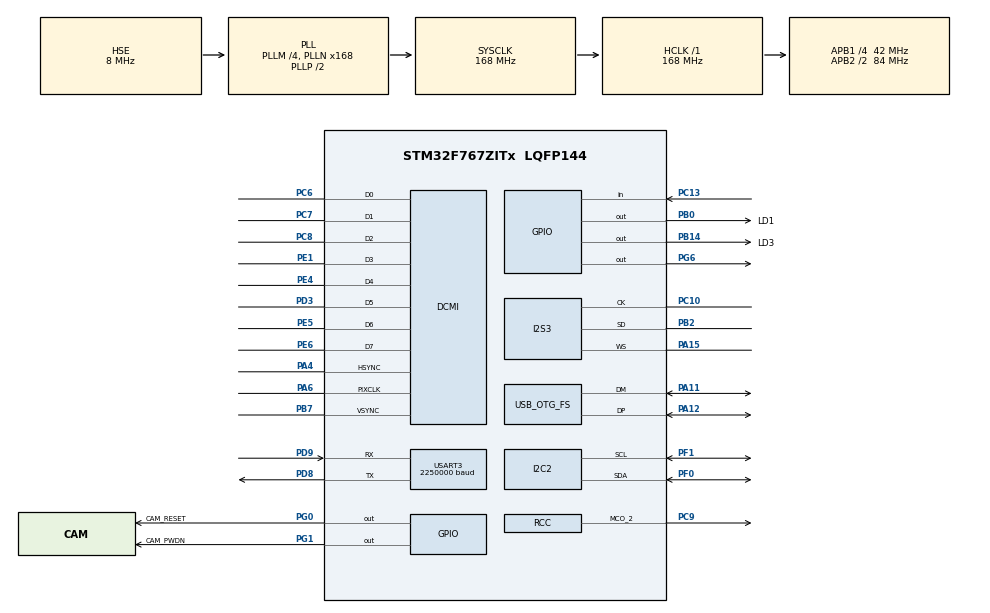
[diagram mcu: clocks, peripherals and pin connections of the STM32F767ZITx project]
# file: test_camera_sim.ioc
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CORTEX_M7.ART_ACCLERATOR_ENABLE=1
CORTEX_M7.CPU_DCache=Enabled
CORTEX_M7.CPU_ICache=Enabled
CORTEX_M7.FlashInterface=TCM_Enabled
CORTEX_M7.PREFETCH_ENABLE=1
DCMI.HSPolarity=DCMI_HSPOLARITY_LOW
DCMI.PCKPolarity=DCMI_PCKPOLARITY_RISING
DCMI.VSPolarity=DCMI_VSPOLARITY_HIGH
Dma.DCMI.0.Direction=DMA_PERIPH_TO_MEMORY
Dma.DCMI.0.FIFOMode=DMA_FIFOMODE_ENABLE
Dma.DCMI.0.FIFOThreshold=DMA_FIFO_THRESHOLD_FULL
Dma.DCMI.0.Instance=DMA2_Stream1
Dma.DCMI.0.MemBurst=DMA_MBURST_INC4
Dma.DCMI.0.MemDataAlignment=DMA_MDATAALIGN_WORD
Dma.DCMI.0.MemInc=DMA_MINC_ENABLE
Dma.DCMI.0.Mode=DMA_CIRCULAR
Dma.DCMI.0.PeriphBurst=DMA_PBURST_SINGLE
Dma.DCMI.0.PeriphDataAlignment=DMA_PDATAALIGN_WORD
Dma.DCMI.0.PeriphInc=DMA_PINC_DISABLE
Dma.DCMI.0.Priority=DMA_PRIORITY_HIGH
Dma.JPEG_IN.2.Direction=DMA_MEMORY_TO_PERIPH
Dma.JPEG_IN.2.FIFOMode=DMA_FIFOMODE_ENABLE
Dma.JPEG_IN.2.FIFOThreshold=DMA_FIFO_THRESHOLD_FULL
Dma.JPEG_IN.2.Instance=DMA2_Stream3
Dma.JPEG_IN.2.MemBurst=DMA_MBURST_INC4
Dma.JPEG_IN.2.MemDataAlignment=DMA_MDATAALIGN_WORD
Dma.JPEG_IN.2.MemInc=DMA_MINC_ENABLE
Dma.JPEG_IN.2.Mode=DMA_NORMAL
Dma.JPEG_IN.2.PeriphBurst=DMA_PBURST_INC4
Dma.JPEG_IN.2.PeriphDataAlignment=DMA_PDATAALIGN_WORD
Dma.JPEG_IN.2.PeriphInc=DMA_PINC_DISABLE
Dma.JPEG_IN.2.Priority=DMA_PRIORITY_HIGH
Dma.JPEG_OUT.3.Direction=DMA_PERIPH_TO_MEMORY
Dma.JPEG_OUT.3.FIFOMode=DMA_FIFOMODE_ENABLE
Dma.JPEG_OUT.3.FIFOThreshold=DMA_FIFO_THRESHOLD_FULL
Dma.JPEG_OUT.3.Instance=DMA2_Stream4
Dma.JPEG_OUT.3.MemBurst=DMA_MBURST_INC4
Dma.JPEG_OUT.3.MemDataAlignment=DMA_MDATAALIGN_WORD
Dma.JPEG_OUT.3.MemInc=DMA_MINC_ENABLE
Dma.JPEG_OUT.3.Mode=DMA_NORMAL
Dma.JPEG_OUT.3.PeriphBurst=DMA_PBURST_INC4
Dma.JPEG_OUT.3.PeriphDataAlignment=DMA_PDATAALIGN_WORD
Dma.JPEG_OUT.3.PeriphInc=DMA_PINC_DISABLE
Dma.JPEG_OUT.3.Priority=DMA_PRIORITY_HIGH
Dma.Request0=DCMI
Dma.Request1=USART3_TX
Dma.Request2=JPEG_IN
Dma.Request3=JPEG_OUT
Dma.USART3_TX.1.Direction=DMA_MEMORY_TO_PERIPH
Dma.USART3_TX.1.FIFOMode=DMA_FIFOMODE_ENABLE
Dma.USART3_TX.1.FIFOThreshold=DMA_FIFO_THRESHOLD_FULL
Dma.USART3_TX.1.Instance=DMA1_Stream3
Dma.USART3_TX.1.MemBurst=DMA_MBURST_INC4
Dma.USART3_TX.1.MemDataAlignment=DMA_MDATAALIGN_WORD
Dma.USART3_TX.1.MemInc=DMA_MINC_ENABLE
Dma.USART3_TX.1.Mode=DMA_NORMAL
Dma.USART3_TX.1.PeriphBurst=DMA_PBURST_SINGLE
Dma.USART3_TX.1.PeriphDataAlignment=DMA_PDATAALIGN_BYTE
Dma.USART3_TX.1.PeriphInc=DMA_PINC_DISABLE
Dma.USART3_TX.1.Priority=DMA_PRIORITY_MEDIUM
I2C2.Timing=0x00A0A3F7
I2S3.ErrorAudioFreq=0.0 %
I2S3.FullDuplexMode=I2S_FULLDUPLEXMODE_DISABLE
I2S3.Instance=SPI$Index
I2S3.RealAudioFreq=8.0 KHz
I2S3.VirtualMode=I2S_MODE_MASTER
JPEG.JPEG_RGB_FORMAT=JPEG_RGB565
JPEG.USE_JPEG_DECODER=0
Mcu.Family=STM32F7
Mcu.Name=STM32F767ZITx
Mcu.Package=LQFP144
NVIC.DCMI_IRQn=true\:6\:0\:true\:false\:true\:true\:true
NVIC.DMA1_Stream3_IRQn=true\:2\:0\:true\:false\:true\:false\:true
NVIC.DMA2_Stream1_IRQn=true\:7\:0\:true\:false\:true\:false\:true
NVIC.DMA2_Stream3_IRQn=true\:5\:0\:true\:false\:true\:false\:true
NVIC.DMA2_Stream4_IRQn=true\:5\:0\:true\:false\:true\:false\:true
NVIC.JPEG_IRQn=true\:3\:0\:true\:false\:true\:true\:true
NVIC.OTG_FS_IRQn=true\:4\:1\:true\:false\:true\:false\:true
NVIC.PriorityGroup=NVIC_PRIORITYGROUP_3
NVIC.USART3_IRQn=true\:1\:0\:true\:false\:true\:true\:true
PA1.GPIO_Mode=GPIO_MODE_AF_PP
PA1.GPIO_PuPd=GPIO_NOPULL
PA1.GPIO_Speed=GPIO_SPEED_FREQ_VERY_HIGH
PA1.Signal=ETH_REF_CLK
PA11.Mode=Host_Only
PA11.Signal=USB_OTG_FS_DM
PA12.Mode=Host_Only
PA12.Signal=USB_OTG_FS_DP
PA13.Mode=Serial_Wire
PA13.Signal=SYS_JTMS-SWDIO
PA14.Mode=Serial_Wire
PA14.Signal=SYS_JTCK-SWCLK
PA15.Mode=Half_Duplex_Master
PA15.Signal=I2S3_WS
PA2.GPIO_Mode=GPIO_MODE_AF_PP
PA2.GPIO_PuPd=GPIO_NOPULL
PA2.GPIO_Speed=GPIO_SPEED_FREQ_VERY_HIGH
PA2.Signal=ETH_MDIO
PA4.GPIO_PuPd=GPIO_PULLDOWN
PA4.Mode=Slave_8_bits_External_Synchro
PA4.Signal=DCMI_HSYNC
PA6.GPIO_PuPd=GPIO_PULLDOWN
PA6.Mode=Slave_8_bits_External_Synchro
PA6.Signal=DCMI_PIXCLK
PA7.GPIO_Mode=GPIO_MODE_AF_PP
PA7.GPIO_PuPd=GPIO_NOPULL
PA7.GPIO_Speed=GPIO_SPEED_FREQ_VERY_HIGH
PA7.Signal=ETH_CRS_DV
PB0.GPIO_Label=LD1
PB0.GPIO_ModeDefaultOutputPP=GPIO_MODE_OUTPUT_PP
PB0.GPIO_PuPd=GPIO_NOPULL
PB0.GPIO_Speed=GPIO_SPEED_FREQ_LOW
PB0.PinState=GPIO_PIN_RESET
PB0.Signal=GPIO_Output
PB13.GPIO_Mode=GPIO_MODE_AF_PP
PB13.GPIO_PuPd=GPIO_NOPULL
PB13.GPIO_Speed=GPIO_SPEED_FREQ_VERY_HIGH
PB13.Signal=ETH_TXD1
PB14.GPIO_Label=LD3
PB14.GPIO_ModeDefaultOutputPP=GPIO_MODE_OUTPUT_PP
PB14.GPIO_PuPd=GPIO_NOPULL
PB14.GPIO_Speed=GPIO_SPEED_FREQ_LOW
PB14.PinState=GPIO_PIN_RESET
PB14.Signal=GPIO_Output
PB2.Mode=Half_Duplex_Master
PB2.Signal=I2S3_SD
PB7.GPIO_PuPd=GPIO_PULLDOWN
PB7.Mode=Slave_8_bits_External_Synchro
PB7.Signal=DCMI_VSYNC
PC1.GPIO_Mode=GPIO_MODE_AF_PP
PC1.GPIO_PuPd=GPIO_NOPULL
PC1.GPIO_Speed=GPIO_SPEED_FREQ_VERY_HIGH
PC1.Signal=ETH_MDC
PC10.Mode=Half_Duplex_Master
PC10.Signal=I2S3_CK
PC13.Signal=GPIO_Input
PC14/OSC32_IN.Mode=LSE-External-Oscillator
PC14/OSC32_IN.Signal=RCC_OSC32_IN
PC15/OSC32_OUT.Mode=LSE-External-Oscillator
PC15/OSC32_OUT.Signal=RCC_OSC32_OUT
PC4.GPIO_Mode=GPIO_MODE_AF_PP
PC4.GPIO_PuPd=GPIO_NOPULL
PC4.GPIO_Speed=GPIO_SPEED_FREQ_VERY_HIGH
PC4.Signal=ETH_RXD0
PC5.GPIO_Mode=GPIO_MODE_AF_PP
PC5.GPIO_PuPd=GPIO_NOPULL
PC5.GPIO_Speed=GPIO_SPEED_FREQ_VERY_HIGH
PC5.Signal=ETH_RXD1
PC6.GPIO_PuPd=GPIO_PULLDOWN
PC6.Mode=Slave_8_bits_External_Synchro
PC6.Signal=DCMI_D0
PC7.GPIO_PuPd=GPIO_PULLDOWN
PC7.Mode=Slave_8_bits_External_Synchro
PC7.Signal=DCMI_D1
PC8.GPIO_PuPd=GPIO_PULLDOWN
PC8.Mode=Slave_8_bits_External_Synchro
PC8.Signal=DCMI_D2
PC9.GPIO_Mode=GPIO_MODE_AF_PP
PC9.GPIO_PuPd=GPIO_NOPULL
PC9.GPIO_Speed=GPIO_SPEED_FREQ_LOW
PC9.Mode=Clock-out-2
PC9.Signal=RCC_MCO_2
PD3.GPIO_PuPd=GPIO_PULLDOWN
PD3.Mode=Slave_8_bits_External_Synchro
PD3.Signal=DCMI_D5
PD8.GPIO_ModeDefaultPP=GPIO_MODE_AF_PP
PD8.GPIO_PuPd=GPIO_NOPULL
PD8.GPIO_Speed=GPIO_SPEED_FREQ_VERY_HIGH
PD8.Mode=Asynchronous
PD8.Signal=USART3_TX
PD9.GPIO_ModeDefaultPP=GPIO_MODE_AF_PP
PD9.GPIO_PuPd=GPIO_NOPULL
PD9.GPIO_Speed=GPIO_SPEED_FREQ_VERY_HIGH
PD9.Mode=Asynchronous
PD9.Signal=USART3_RX
PE1.GPIO_PuPd=GPIO_PULLDOWN
PE1.Mode=Slave_8_bits_External_Synchro
PE1.Signal=DCMI_D3
PE4.GPIO_PuPd=GPIO_PULLDOWN
PE4.Mode=Slave_8_bits_External_Synchro
PE4.Signal=DCMI_D4
PE5.GPIO_PuPd=GPIO_PULLDOWN
PE5.Mode=Slave_8_bits_External_Synchro
PE5.Signal=DCMI_D6
PE6.GPIO_PuPd=GPIO_PULLDOWN
PE6.Mode=Slave_8_bits_External_Synchro
PE6.Signal=DCMI_D7
PF0.Mode=I2C
PF0.Signal=I2C2_SDA
PF1.Mode=I2C
PF1.Signal=I2C2_SCL
PG0.GPIO_Label=CAM_RESET
PG0.Signal=GPIO_Output
PG1.GPIO_Label=CAM_PWDN
PG1.Signal=GPIO_Output
PG11.GPIO_Mode=GPIO_MODE_AF_PP
PG11.GPIO_PuPd=GPIO_NOPULL
PG11.GPIO_Speed=GPIO_SPEED_FREQ_VERY_HIGH
PG11.Signal=ETH_TX_EN
PG13.GPIO_Mode=GPIO_MODE_AF_PP
PG13.GPIO_PuPd=GPIO_NOPULL
PG13.GPIO_Speed=GPIO_SPEED_FREQ_VERY_HIGH
PG13.Signal=ETH_TXD0
PG6.Signal=GPIO_Output
PH0/OSC_IN.Mode=HSE-External-Clock-Source
PH0/OSC_IN.Signal=RCC_OSC_IN
PH1/OSC_OUT.Mode=HSE-External-Clock-Source
PH1/OSC_OUT.Signal=RCC_OSC_OUT
ProjectManager.HeapSize=0x2000
ProjectManager.StackSize=0x2000
ProjectManager.TargetToolchain=Makefile
RCC.48MHZClocksFreq_Value=24000000
RCC.AHBFreq_Value=168000000
RCC.APB1CLKDivider=RCC_HCLK_DIV4
RCC.APB1Freq_Value=42000000
RCC.APB1TimFreq_Value=84000000
RCC.APB2CLKDivider=RCC_HCLK_DIV2
RCC.APB2Freq_Value=84000000
RCC.APB2TimFreq_Value=168000000
RCC.CortexFreq_Value=168000000
RCC.HCLKFreq_Value=168000000
RCC.HSE_VALUE=8000000
RCC.HSI_VALUE=16000000
RCC.PLLI2SN=96
RCC.PLLM=4
RCC.PLLMUL=RCC_PLL_MUL9
RCC.PLLN=168
RCC.PLLQ=7
RCC.PRESCALERUSB=RCC_USBCLKSOURCE_PLL_DIV1_5
RCC.RCC_MCO1Source=RCC_MCO1SOURCE_PLLCLK
RCC.RCC_MCO2Source=RCC_MCO2SOURCE_PLLI2SCLK
RCC.RCC_MCODiv1=RCC_MCODIV_5
RCC.RCC_MCODiv2=RCC_MCODIV_4
RCC.SDMMC2ClockSelection=RCC_SDMMC2CLKSOURCE_CLK48
RCC.SDMMCClockSelection=RCC_SDMMC1CLKSOURCE_CLK48
RCC.SYSCLKFreq_VALUE=168000000
RCC.SYSCLKSource=RCC_SYSCLKSOURCE_PLLCLK
RCC.SYSCLKSourceVirtual=RCC_SYSCLKSOURCE_PLLCLK
RCC.USBFreq_Value=48000000
RCC.VCOOutputFreq_Value=336000000
USART3.BaudRate=2250000
USART3.Mode=MODE_TX
USART3.VirtualMode-Asynchronous=VM_ASYNC
USB_HOST.USBH_HandleTypeDef-MSC_FS=hUsbHostFS
USB_HOST.VirtualModeFS=Msc
USB_OTG_FS.VirtualMode=Host_Only
USB_OTG_FS.phy_itface=HCD_PHY_EMBEDDED
VP_FATFS_VS_USB.Mode=USB
VP_JPEG_VS_JPEG.Mode=JPEG_Activate
VP_USB_HOST_VS_USB_HOST_MSC_FS.Mode=MSC_FS
board=NUCLEO-F767ZI

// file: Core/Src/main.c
/* USER CODE BEGIN Header */
/**
  ******************************************************************************
  * @file           : main.c
  * @brief          : Main program body
  ******************************************************************************
  * @attention
  *
  * <h2><center>&copy; Copyright (c) 2020 STMicroelectronics.
  * All rights reserved.</center></h2>
  *
  * This software component is licensed by ST under BSD 3-Clause license,
  * the "License"; You may not use this file except in compliance with the
  * License. You may obtain a copy of the License at:
  *                        opensource.org/licenses/BSD-3-Clause
  *
  ******************************************************************************
  */
/* USER CODE END Header */
#include "main.h"
#include "dcmi.h"
#include "dma.h"
#include "fatfs.h"
#include "i2c.h"
#include "i2s.h"
#include "jpeg.h"
#include "usart.h"
#include "usb_host.h"
#include "gpio.h"

/* USER CODE BEGIN Includes */
#include "ov7670.h"
/* USER CODE END Includes */

/* USER CODE BEGIN PD */
#define RGB_IMAGE_SIZE  ((uint32_t)FRAME_SIZE_HEIGHT * FRAME_SIZE_WIDTH * 2)
/* USER CODE END PD */

/* USER CODE BEGIN PM */
extern ApplicationTypeDef Appli_state;
/* USER CODE END PM */

/* USER CODE BEGIN PV */
uint8_t capture = 0;
/* USER CODE END PV */

void SystemClock_Config(void);
void MX_USB_HOST_Process(void);

/* USER CODE BEGIN 0 */

uint8_t buffCAM[MAX_INPUT_LINES][FRAME_SIZE_WIDTH * 2];

uint32_t line = 0;

void HAL_DCMI_FrameEventCallback(DCMI_HandleTypeDef *hdcmi)
{
  line = 0;

	while (JPEG_EncodeOutputHandler(&hjpeg) == 0);
}

void HAL_DCMI_VsyncEventCallback(DCMI_HandleTypeDef *hdcmi)
{
}

#define CHUNK_SIZE_IN1  ((uint32_t)(FRAME_SIZE_WIDTH * 2 * MAX_INPUT_LINES))
uint8_t MCU_Data_IntBuffer1[CHUNK_SIZE_IN1];

void HAL_DCMI_LineEventCallback(DCMI_HandleTypeDef *hdcmi)
{
  if (line >= FRAME_SIZE_HEIGHT) return;

  uint32_t lineMod = line&0x07;
  uint8_t *startT = (uint8_t*)MCU_Data_IntBuffer1 + lineMod*8;
  uint8_t *startF = (uint8_t*)buffCAM + lineMod*FRAME_SIZE_WIDTH*2;

  for (uint32_t i = 0; i < FRAME_SIZE_WIDTH / (8*2); i++) {
      for (uint32_t j = 0; j < 8*2*2; j+=4) {
          uint32_t index = j/(8*2)*8*8 + ((j>>1)&0x7);
          uint32_t index2 = 2*8*8 + (j>>2);

          startT[index]         = startF[0];
          startT[index + 1]     = startF[2];

          startT[index2]        = startF[3];
          startT[index2 + 8*8]  = startF[1];

          startF += 4;
      }
      startT += 4*8*8;
  }

  if (lineMod == 7) {
    if (line == 7) {
      JPEG_Encode_DMA(&hjpeg, (uint8_t*)MCU_Data_IntBuffer1, RGB_IMAGE_SIZE, &huart3);
    } else {
      while (!JPEG_EncodeInputHandler(&hjpeg));
    }
  }

  line++;
}

/* USER CODE END 0 */

int main(void)
{

  /* Enable I-Cache---------------------------------------------------------*/
  SCB_EnableICache();

  /* Enable D-Cache---------------------------------------------------------*/
  SCB_EnableDCache();

  /* MCU Configuration--------------------------------------------------------*/

  /* Reset of all peripherals, Initializes the Flash interface and the Systick. */
  HAL_Init();

  /* Configure the system clock */
  SystemClock_Config();

  /* Initialize all configured peripherals */
  MX_GPIO_Init();
  MX_DMA_Init();
  MX_DCMI_Init();
  MX_I2C2_Init();
  MX_USART3_UART_Init();
  MX_I2S3_Init();
  MX_JPEG_Init();
  MX_FATFS_Init();
  MX_USB_HOST_Init();
  /* USER CODE BEGIN 2 */
	ov7670_init(&hdcmi, &hi2c2);

  HAL_UART_Transmit(&huart3, (uint8_t*)"*RDY*", 5, 100);

	HAL_Delay(100);

	HAL_DCMI_Start_DMA(&hdcmi, DCMI_MODE_CONTINUOUS, (uint32_t)&buffCAM, MAX_INPUT_LINES * FRAME_SIZE_WIDTH * 2 / 4);

//	uint32_t round = 0;

  /* USER CODE END 2 */

  /* Infinite loop */
  /* USER CODE BEGIN WHILE */
  while (1)
  {
//    uint32_t *startF = (uint32_t*)buffCAM;
//    for (uint32_t i = 0; i < 0xFF000000; i+=(0xFF000000/FRAME_SIZE_HEIGHT)) {
//      if (i % ((0xFF000000/FRAME_SIZE_HEIGHT) *8) == 0) {
//        startF = (uint32_t*)buffCAM;
//      }
//      for (uint32_t j = 0; j < 0xFF00; j+=(0xFF00/(FRAME_SIZE_WIDTH*2/4))) {
//        *startF++ = round | (j & 0xFF00) | (i & 0xFF000000);
//      }
//      HAL_DCMI_LineEventCallback(&hdcmi);
//      //HAL_Delay(1000/FRAME_SIZE_HEIGHT);
//    }
//    HAL_DCMI_FrameEventCallback(&hdcmi);
//    round+=(4) | (4<<16);
//    round&=0xFF| (0xFF<<16);

    //HAL_Delay(5000);
    /* USER CODE END WHILE */
    MX_USB_HOST_Process();

    /* USER CODE BEGIN 3 */
    // userFunction();
    if(HAL_GPIO_ReadPin(GPIOC, GPIO_PIN_13) == GPIO_PIN_SET && capture == 0){
      capture = 1;
    }

    if(Appli_state == APPLICATION_READY){
      if(capture == 1) HAL_GPIO_TogglePin(GPIOB, GPIO_PIN_0);
      else HAL_GPIO_WritePin(GPIOB, GPIO_PIN_0, GPIO_PIN_SET);
    }
  }
  /* USER CODE END 3 */
}

void SystemClock_Config(void)
{
  RCC_OscInitTypeDef RCC_OscInitStruct = {0};
  RCC_ClkInitTypeDef RCC_ClkInitStruct = {0};
  RCC_PeriphCLKInitTypeDef PeriphClkInitStruct = {0};

  /** Configure LSE Drive Capability
  */
  HAL_PWR_EnableBkUpAccess();
  /** Configure the main internal regulator output voltage
  */
  __HAL_RCC_PWR_CLK_ENABLE();
  __HAL_PWR_VOLTAGESCALING_CONFIG(PWR_REGULATOR_VOLTAGE_SCALE2);
  /** Initializes the RCC Oscillators according to the specified parameters
  * in the RCC_OscInitTypeDef structure.
  */
  RCC_OscInitStruct.OscillatorType = RCC_OSCILLATORTYPE_HSE;
  RCC_OscInitStruct.HSEState = RCC_HSE_BYPASS;
  RCC_OscInitStruct.PLL.PLLState = RCC_PLL_ON;
  RCC_OscInitStruct.PLL.PLLSource = RCC_PLLSOURCE_HSE;
  RCC_OscInitStruct.PLL.PLLM = 4;
  RCC_OscInitStruct.PLL.PLLN = 168;
  RCC_OscInitStruct.PLL.PLLP = RCC_PLLP_DIV2;
  RCC_OscInitStruct.PLL.PLLQ = 7;
  if (HAL_RCC_OscConfig(&RCC_OscInitStruct) != HAL_OK)
  {
    Error_Handler();
  }
  /** Initializes the CPU, AHB and APB buses clocks
  */
  RCC_ClkInitStruct.ClockType = RCC_CLOCKTYPE_HCLK|RCC_CLOCKTYPE_SYSCLK
                              |RCC_CLOCKTYPE_PCLK1|RCC_CLOCKTYPE_PCLK2;
  RCC_ClkInitStruct.SYSCLKSource = RCC_SYSCLKSOURCE_PLLCLK;
  RCC_ClkInitStruct.AHBCLKDivider = RCC_SYSCLK_DIV1;
  RCC_ClkInitStruct.APB1CLKDivider = RCC_HCLK_DIV4;
  RCC_ClkInitStruct.APB2CLKDivider = RCC_HCLK_DIV2;

  if (HAL_RCC_ClockConfig(&RCC_ClkInitStruct, FLASH_LATENCY_5) != HAL_OK)
  {
    Error_Handler();
  }
  PeriphClkInitStruct.PeriphClockSelection = RCC_PERIPHCLK_PLLI2S|RCC_PERIPHCLK_USART3
                              |RCC_PERIPHCLK_I2C2|RCC_PERIPHCLK_I2S
                              |RCC_PERIPHCLK_CLK48;
  PeriphClkInitStruct.PLLI2S.PLLI2SN = 96;
  PeriphClkInitStruct.PLLI2S.PLLI2SP = RCC_PLLP_DIV2;
  PeriphClkInitStruct.PLLI2S.PLLI2SR = 2;
  PeriphClkInitStruct.PLLI2S.PLLI2SQ = 2;
  PeriphClkInitStruct.PLLI2SDivQ = 1;
  PeriphClkInitStruct.I2sClockSelection = RCC_I2SCLKSOURCE_PLLI2S;
  PeriphClkInitStruct.Usart3ClockSelection = RCC_USART3CLKSOURCE_PCLK1;
  PeriphClkInitStruct.I2c2ClockSelection = RCC_I2C2CLKSOURCE_PCLK1;
  PeriphClkInitStruct.Clk48ClockSelection = RCC_CLK48SOURCE_PLL;
  if (HAL_RCCEx_PeriphCLKConfig(&PeriphClkInitStruct) != HAL_OK)
  {
    Error_Handler();
  }
  HAL_RCC_MCOConfig(RCC_MCO2, RCC_MCO2SOURCE_PLLI2SCLK, RCC_MCODIV_4);
}

/* USER CODE BEGIN 4 */

/**
  * @brief  Get the images sizes from BMP header.
  * @param  pInfo : pointer to the Info structure
  * @retval None
  */
void RGB_GetInfo(JPEG_ConfTypeDef *pInfo)
{
  /* Read Images Sizes */
  pInfo->ImageWidth         = FRAME_SIZE_WIDTH;
  pInfo->ImageHeight        = FRAME_SIZE_HEIGHT;

  /* Jpeg Encoding Setting to be set by users */
  pInfo->ChromaSubsampling  = JPEG_CHROMA_SAMPLING;
  pInfo->ColorSpace         = JPEG_COLOR_SPACE;
  pInfo->ImageQuality       = JPEG_IMAGE_QUALITY;

  /*Check if Image Sizes meets the requirements */
  if (((pInfo->ImageWidth % 8) != 0 ) || ((pInfo->ImageHeight % 8) != 0 ) || \
      (((pInfo->ImageWidth % 16) != 0 ) && (pInfo->ColorSpace == JPEG_YCBCR_COLORSPACE) && (pInfo->ChromaSubsampling != JPEG_444_SUBSAMPLING)) || \
      (((pInfo->ImageHeight % 16) != 0 ) && (pInfo->ColorSpace == JPEG_YCBCR_COLORSPACE) && (pInfo->ChromaSubsampling == JPEG_420_SUBSAMPLING)))
  {
    Error_Handler();
  }

}

/* USER CODE END 4 */

void Error_Handler(void)
{
}

/************************ (C) COPYRIGHT STMicroelectronics *****END OF FILE****/
